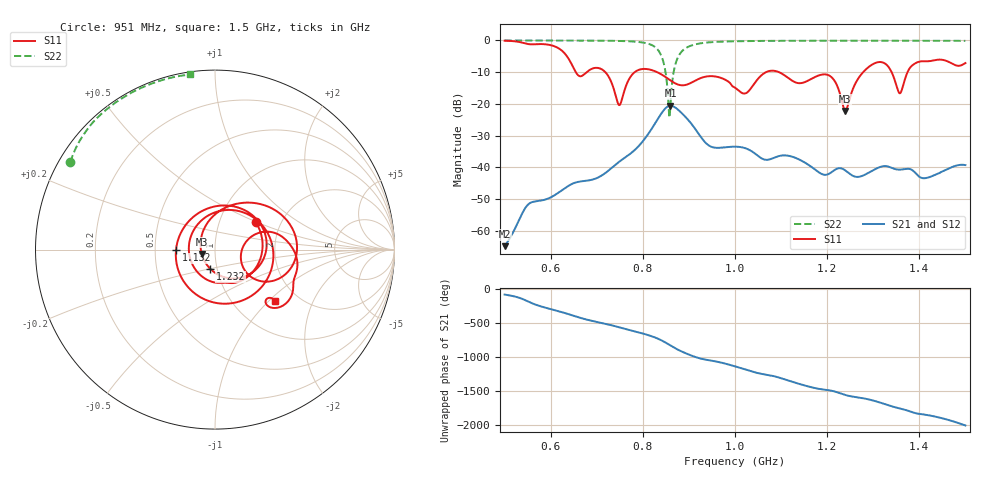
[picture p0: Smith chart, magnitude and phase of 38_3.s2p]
! TOUCHSTONE file generated by CST MICROWAVE STUDIO
! Date and time: Fri Dec 11 14:17:47 2020
! Project name: Scenario_1_Planar_Body_Tissue_Out_of_Line_v2.cst
! Parameters = {dy1=294.1; L_HA=400; Ltissue=700; MT=2.54; Rad_Dielectric=30; Rad_Lower=7.3; Rad_Upper=30; Wtissue=700; a_HA=580; a_WG=246; b_HA=500; b_WG=121; c_HA=0; c_WG=187; d_feed=85; dx1=520; h_feed=15; h_lower=18; h_upper=40; hfat=3; hgap=25; hmuscle=50; hskin=1.5}
! Header version: 2018
! Port assignment regex: !\s*Touchstone port\s*([0-9]+)\s*=\s*(CST MWS port|CST DS port)\s*([0-9]+|Zmin|Zmax)\s*\(\"(.*)\"\)(\s*mode\s*([0-9]+))?.*
! Touchstone port assignment:
! Touchstone port 1 = CST MWS port 1 ("")
! Touchstone port 2 = CST MWS port 2 ("")
# GHz S DB R 50
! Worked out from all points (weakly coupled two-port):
!   1003 points, 500 MHz to 1.5 GHz, reference 50 ohm
!   highest |S21| = -20.58 dB at 860 MHz (marker M1); lowest = -64.8 dB at 500 MHz (marker M2)
!   lowest |S11| = -22.2 dB at 1.239 GHz (marker M3), VSWR 1.17, Z = 43.1 - j2.06 ohm
!   |S11| at or under -10 dB: 718.6 MHz to 782.3 MHz (63.69 MHz wide, 8.49 % of centre); 831.1 MHz to 1.067 GHz (236.1 MHz wide, 24.9 % of centre); 1.095 GHz to 1.278 GHz (182.6 MHz wide, 15.4 % of centre) (the widest 3 of 5)
!   |S22| runs from -24.3 to 0.0 dB; largest |S21 - S12| = 0.00098
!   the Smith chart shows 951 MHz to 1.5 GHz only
!   S11 on the Smith chart (normalised r, x): 951 MHz: 1.49, +0.49; 1.132 GHz: 0.64, -0.00; 1.232 GHz: 0.93, -0.20; 1.5 GHz: 1.54, -1.09
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0.5  -0.10 -121.9  -64.81 -80.6  -64.81 -80.6  -0.01 151.2
0.597  -1.40 -174.2  -49.64 71.2  -49.64 71.2  -0.02 144.4
0.667  -11.22 157.7  -44.38 -68.0  -44.38 -68.0  -0.04 138.4
0.713  -9.29 119.1  -42.33 -141.3  -42.33 -141.3  -0.08 133.3
0.749  -20.39 -31.7  -38.17 158.1  -38.17 158.1  -0.16 127.7
0.788  -9.47 163.0  -33.73 88.9  -33.73 88.9  -0.45 117.8
0.834  -10.20 57.1  -24.39 -12.3  -24.39 -12.3  -3.22 83.7
0.86  -12.63 -14.4  -20.57 -109.2  -20.57 -109.2  -19.80 -107.2
0.882  -14.10 -89.8  -22.56 170.9  -22.56 170.9  -3.90 -175.6
0.951  -11.26 33.9  -33.63 26.6  -33.63 26.6  -0.52 148.8
1  -14.88 -95.2  -33.46 -54.4  -33.46 -54.4  -0.27 140.2
1.045  -12.99 77.7  -35.82 -146.3  -35.82 -146.4  -0.17 135.0
1.074  -9.64 -10.5  -37.51 176.6  -37.44 176.7  -0.14 132.1
1.132  -13.26 -179.2  -37.03 62.9  -37.03 62.9  -0.11 127.0
1.167  -12.01 78.8  -39.95 -3.2  -39.95 -3.2  -0.10 124.2
1.232  -19.12 -103.5  -40.36 -98.8  -40.36 -98.8  -0.09 119.2
1.239  -22.20 -162.2  -40.92 -113.9  -40.92 -113.9  -0.08 118.7
1.283  -9.26 48.7  -42.22 -169.2  -42.22 -169.2  -0.08 115.4
1.334  -8.51 -27.0  -39.81 90.7  -39.80 90.7  -0.09 111.5
1.358  -16.65 -7.0  -40.68 48.1  -40.68 48.1  -0.09 109.7
1.395  -6.93 -3.5  -42.30 -26.4  -42.28 -26.4  -0.09 106.8
1.5  -7.13 -40.5  -39.27 158.1  -39.27 158.1  -0.13 98.0
